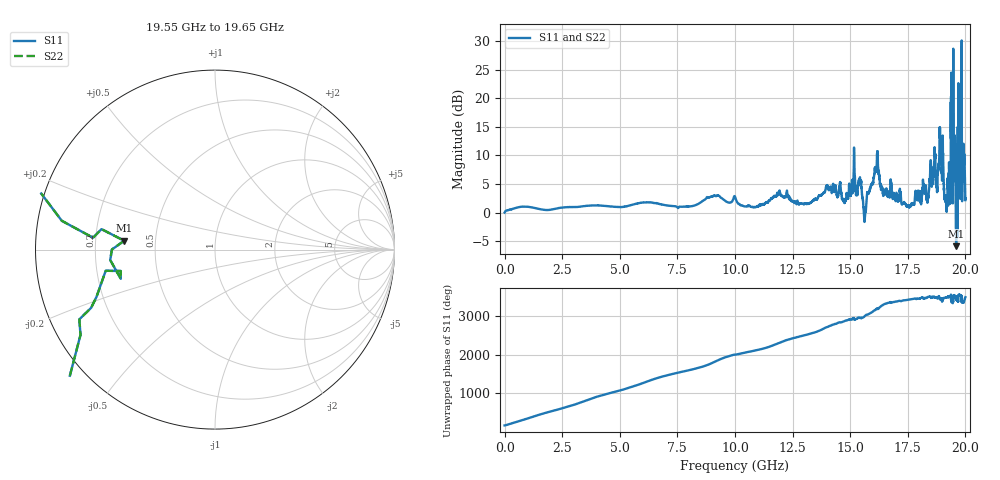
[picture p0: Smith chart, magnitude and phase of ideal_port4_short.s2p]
! Created with skrf (http://scikit-rf.org).
# GHz S RI R 50.0
!freq ReS11 ImS11 ReS21 ImS21 ReS12 ImS12 ReS22 ImS22
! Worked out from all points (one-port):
!   10001 points, 1 MHz to 20 GHz, reference 50 ohm
!   lowest |S11| = -5.9 dB at 19.6 GHz (marker M1), VSWR 3.07, Z = 16.3 + j2.18 ohm
!   |S11| at or under -10 dB: nowhere
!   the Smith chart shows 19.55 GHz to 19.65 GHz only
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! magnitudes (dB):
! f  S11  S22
! 1 MHz  0.0  0.0
! 3.335 GHz  1.1  1.1
! 6.669 GHz  1.6  1.6
! 10 GHz  2.8  2.8
! 13.33 GHz  1.9  1.9
! 14.04 GHz  4.2  4.2
! 14.74 GHz  2.0  2.0
! 15.15 GHz  6.7  6.7
! 15.43 GHz  5.4  5.4
! 15.62 GHz  -1.6  -1.6
! 16.15 GHz  8.3  8.3
! 16.38 GHz  4.2  4.2
! 16.67 GHz  3.4  3.4
! 17.53 GHz  1.2  1.2
! 18.32 GHz  2.5  2.5
! 18.94 GHz  8.7  8.7
! 19.16 GHz  1.7  1.7
! 19.26 GHz  3.3  3.3
! 19.46 GHz  2.1  2.1
! 19.6 GHz  -5.9  -5.9
! 19.89 GHz  6.6  6.6
! 20 GHz  2.2  2.2
